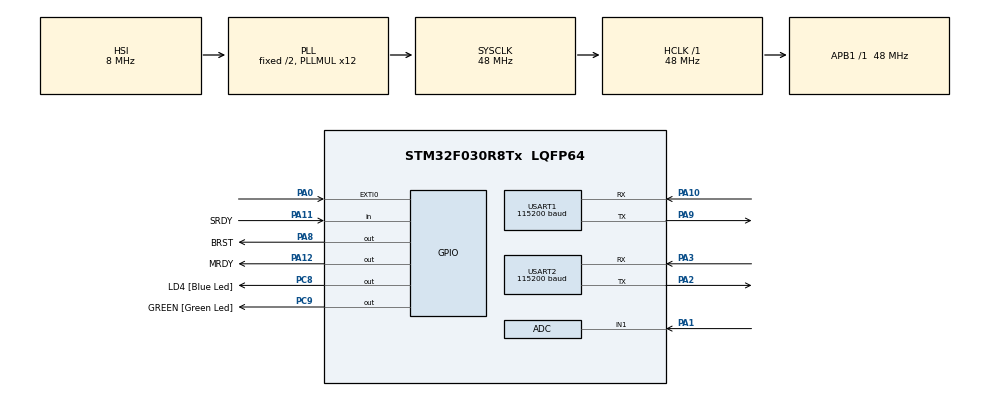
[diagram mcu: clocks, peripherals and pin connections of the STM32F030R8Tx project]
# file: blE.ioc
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ADC.ClockPrescaler=ADC_CLOCK_ASYNC_DIV1
ADC.ContinuousConvMode=DISABLE
ADC.DMAContinuousRequests=DISABLE
ADC.DataAlign=ADC_DATAALIGN_RIGHT
ADC.DiscontinuousConvMode=DISABLE
ADC.EOCSelection=ADC_EOC_SINGLE_CONV
ADC.EnableAnalogWatchDog=false
ADC.ExternalTrigConv=ADC_SOFTWARE_START
ADC.ExternalTrigConvEdge=ADC_EXTERNALTRIGCONVEDGE_NONE
ADC.LowPowerAutoPowerOff=DISABLE
ADC.LowPowerAutoWait=DISABLE
ADC.Overrun=ADC_OVR_DATA_PRESERVED
ADC.Resolution=ADC_RESOLUTION_12B
ADC.SamplingTime=ADC_SAMPLETIME_1CYCLE_5
ADC.ScanConvMode=ADC_SCAN_DIRECTION_FORWARD
Mcu.Family=STM32F0
Mcu.Name=STM32F030R8Tx
Mcu.Package=LQFP64
NVIC.USART1_IRQn=true\:0\:0\:false\:false\:true
PA0.Signal=GPXTI0
PA1.Mode=IN1
PA1.Signal=ADC_IN1
PA10.Mode=Asynchronous
PA10.Signal=USART1_RX
PA11.GPIO_Label=SRDY
PA11.GPIO_PuPd=GPIO_PULLUP
PA11.Signal=GPIO_Input
PA12.GPIO_Label=MRDY
PA12.GPIO_PuPd=GPIO_PULLUP
PA12.Signal=GPIO_Output
PA13.GPIO_Label=SWDIO
PA13.Signal=SYS_SWDIO
PA14.GPIO_Label=SWCLK
PA14.Signal=SYS_SWCLK
PA2.Mode=Asynchronous
PA2.Signal=USART2_TX
PA3.Mode=Asynchronous
PA3.Signal=USART2_RX
PA8.GPIO_Label=BRST
PA8.GPIO_PuPd=GPIO_PULLUP
PA8.Signal=GPIO_Output
PA9.Mode=Asynchronous
PA9.Signal=USART1_TX
PC8.GPIO_Label=LD4 [Blue Led]
PC8.Signal=GPIO_Output
PC9.GPIO_Label=GREEN [Green Led]
PC9.Signal=GPIO_Output
ProjectManager.HeapSize=0x200
ProjectManager.StackSize=0x400
ProjectManager.TargetToolchain=MDK-ARM V5
RCC.AHBFreq_Value=48000000
RCC.APB1Freq_Value=48000000
RCC.APB1TimFreq_Value=48000000
RCC.HCLKFreq_Value=48000000
RCC.PLLMUL=RCC_PLL_MUL12
RCC.SYSCLKFreq_VALUE=48000000
RCC.SYSCLKSource=RCC_SYSCLKSOURCE_PLLCLK
USART1.BaudRate=115200
USART1.VirtualMode-Asynchronous=VM_ASYNC
USART2.BaudRate=115200
USART2.VirtualMode-Asynchronous=VM_ASYNC
board=STM32F0308-DISCO

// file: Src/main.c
/**
  ******************************************************************************
  * File Name          : main.c
  * Description        : Main program body
  ******************************************************************************
  ** This notice applies to any and all portions of this file
  * that are not between comment pairs USER CODE BEGIN and
  * USER CODE END. Other portions of this file, whether
  * inserted by the user or by software development tools
  * are owned by their respective copyright owners.
  *
  * COPYRIGHT(c) 2018 STMicroelectronics
  *
  * Redistribution and use in source and binary forms, with or without modification,
  * are permitted provided that the following conditions are met:
  *   1. Redistributions of source code must retain the above copyright notice,
  *      this list of conditions and the following disclaimer.
  *   2. Redistributions in binary form must reproduce the above copyright notice,
  *      this list of conditions and the following disclaimer in the documentation
  *      and/or other materials provided with the distribution.
  *   3. Neither the name of STMicroelectronics nor the names of its contributors
  *      may be used to endorse or promote products derived from this software
  *      without specific prior written permission.
  *
  * THIS SOFTWARE IS PROVIDED BY THE COPYRIGHT HOLDERS AND CONTRIBUTORS "AS IS"
  * AND ANY EXPRESS OR IMPLIED WARRANTIES, INCLUDING, BUT NOT LIMITED TO, THE
  * IMPLIED WARRANTIES OF MERCHANTABILITY AND FITNESS FOR A PARTICULAR PURPOSE ARE
  * DISCLAIMED. IN NO EVENT SHALL THE COPYRIGHT HOLDER OR CONTRIBUTORS BE LIABLE
  * FOR ANY DIRECT, INDIRECT, INCIDENTAL, SPECIAL, EXEMPLARY, OR CONSEQUENTIAL
  * DAMAGES (INCLUDING, BUT NOT LIMITED TO, PROCUREMENT OF SUBSTITUTE GOODS OR
  * SERVICES; LOSS OF USE, DATA, OR PROFITS; OR BUSINESS INTERRUPTION) HOWEVER
  * CAUSED AND ON ANY THEORY OF LIABILITY, WHETHER IN CONTRACT, STRICT LIABILITY,
  * OR TORT (INCLUDING NEGLIGENCE OR OTHERWISE) ARISING IN ANY WAY OUT OF THE USE
  * OF THIS SOFTWARE, EVEN IF ADVISED OF THE POSSIBILITY OF SUCH DAMAGE.
  *
  ******************************************************************************
  */
#include "main.h"
#include "stm32f0xx_hal.h"
#include "adc.h"
#include "usart.h"
#include "gpio.h"

/* USER CODE BEGIN Includes */
#include "AP.h"
#define UART0_OutString(STRING) printf(STRING)
#define UART0_OutUHex(value) printf("%x", value);

/**
  * @brief  Retargets the C library printf function to the USART.
  * @param  None
  * @retval None
  */
//PUTCHAR_PROTOTYPE
int fputc(int ch, FILE *f)
{
    /* Place your implementation of fputc here */
    /* e.g. write a character to the USART */
    HAL_UART_Transmit(&huart2, (uint8_t *)&ch, 1, 100);

    return ch;
}
/* USER CODE END PFP */
/* USER CODE END Includes */

/* USER CODE BEGIN PV */
/* Private variables ---------------------------------------------------------*/

/* USER CODE END PV */

void SystemClock_Config(void);

/* USER CODE BEGIN PFP */
/* Private function prototypes -----------------------------------------------*/

/* USER CODE END PFP */

/* USER CODE BEGIN 0 */
//--------------------------------------------------
// 1. Initialize GATT (add services, characteristics, CCCDТs, etc.). See Section 9.5.
// 2. Initialize GAP (advertisement data, connection parameters, etc.). See Section 9.3.
// 3. Advertise and optionally wait for a connection. See Section 9.4.
// 4. Respond to GATT requests and send notifications / indications as desired. See Section 9.6

//----------------very simple application processor-----------
// first characteristic is called "Data" and is a read/write parameter exchanged with the phone
uint8_t Data;        // read/write parameter
//uint16_t Handle1;    // number associated with this characteristic
//// second characteristic is called "Switches" and is a read only parameter that returns switch value (0-3)
//uint16_t Handle2;    // number associated with this characteristic
// third characteristic is called "LEDs" and is a write-only parameter that sets the LED (0-7)
uint16_t Handle3;    // number associated with this characteristic
// fourth characteristic is called "Count" and is a local counter sent periodically to the phone
uint8_t light;
uint16_t Handle4;    // number associated with this characteristic
uint16_t CCCDhandle; // number associated with this CCCD, Client Characteristic Configuration Descriptor
uint16_t CCCDvalue;  // 0 means inactive, 1 means please notify

#define RECVSIZE 128
extern uint8_t RecvBuf[RECVSIZE];

const uint8_t NPI_GetStatusMsg[] =   {SOF,0x00,0x00,0x55,0x06,0x53};
const uint8_t NPI_GetVersionMsg[] =  {SOF,0x00,0x00,0x35,0x03,0x36};
const uint8_t NPI_AddServiceMsg[] = {
  SOF,3,0x00,     // length = 3
  0x35,0x81,      // SNP Add Service
  0x01,           // Primary Service
  0xF0,0xFF,      // UUID
  0xB9};          // FCS (calculated by AP_SendMessageResponse)

const uint8_t NPI_RegisterMsg[] = {
  SOF,0x00,0x00,  // length = 0
  0x35,0x84,      // SNP Register Service
  0x00};          // FCS (calculated by AP_SendMessageResponse)

// call Set Advertisement twice 0, 2
const uint8_t NPI_SetAdvertisementMsg[] = {
  SOF,11,0x00,    // length = 11
  0x55,0x43,      // SNP Set Advertisement Data
  0x01,           // Not connected Advertisement Data
  0x02,0x01,0x06, // GAP_ADTYPE_FLAGS,DISCOVERABLE | no BREDR
  0x06,0xFF,      // length, manufacturer specific
  0x0D ,0x00,     // Texas Instruments Company ID
  0x03,           // TI_ST_DEVICE_ID
  0x00,           // TI_ST_KEY_DATA_ID
  0x00,           // Key state
  0xEE};          // FCS (calculated by AP_SendMessageResponse)

const uint8_t NPI_SetAdvertisementDataMsg[] = {
  SOF,27,0x00,    // length = 27
  0x55,0x43,      // SNP Set Advertisement Data
  0x00,           // Scan Response Data
  16,0x09,        // length, type=LOCAL_NAME_COMPLETE
  'N','O','R','A','I','N',' ',' ',' ',' ',' ',' ',' ',' ',' ',
// connection interval range
  0x05,           // length of this data
  0x12,           // GAP_ADTYPE_SLAVE_CONN_INTERVAL_RANGE
  0x50,0x00,      // DEFAULT_DESIRED_MIN_CONN_INTERVAL
  0x20,0x03,      // DEFAULT_DESIRED_MAX_CONN_INTERVAL
// Tx power level
  0x02,           // length of this data
  0x0A,           // GAP_ADTYPE_POWER_LEVEL
  0x00,           // 0dBm
  0x77};          // FCS (calculated by AP_SendMessageResponse)

const uint8_t NPI_StartAdvertisementMsg[] = {
  SOF,14,0x00,    // length = 14
  0x55,0x42,      // SNP Start Advertisement
  0x00,           // Connectable Undirected Advertisements
  0x00,0x00,      // Advertise infinitely.
  0x64,0x00,      // Advertising Interval (100 * 0.625 ms=62.5ms)
  0x00,           // Filter Policy RFU
  0x00,           // Initiator Address Type RFU
  0x00,0x01,0x00,0x00,0x00,0xC5, // RFU
  0x02,           // Advertising will restart with connectable advertising when a connection is terminated
  0xBB};          // FCS (calculated by AP_SendMessageResponse)

uint8_t NPI_ReadConfirmationMsg[] = {
  SOF,0x08,0x00,  // length = 8 (7+data length, filled in dynamically)
  0x55,0x87,      // SNP Characteristic Read Confirmation (0x87)
  0x00,           // Success
  0x00,0x00,      // handle of connection always 0
  0x00,0x00,      // Handle of the characteristic value attribute being read (filled in dynamically
  0x00,0x00,      // offset, ignored, assumes small chucks of data
  0x00,0x00,0x00,0x00,0x00,0x00,0x00,0x00,  // actual data (filled in dynamically)
  0x00};          // FCS (calculated by AP_SendMessageResponse)

uint8_t NPI_WriteConfirmationMsg[] = {
  SOF,0x03,0x00,  // length = 3
  0x55,0x88,      // SNP Characteristic Write Confirmation
  0x00,           // Success
  0x00,0x00,      // handle of connection always 0
  0xDE};          // FCS (calculated by AP_SendMessageResponse)

uint8_t NPI_CCCDUpdatedConfirmationMsg[] = {
  SOF,0x03,0x00,  // length = 3
  0x55,0x8B,      // SNP CCCD Updated Confirmation (0x8B)
  0x00,           // Success
  0x00,0x00,      // handle of connection always 0
  0xDD};          // FCS (calculated by AP_SendMessageResponse)

uint8_t NPI_SendNotificationIndicationMsg[] = {
  SOF,0x07,0x00,  // length = 7 to 14 depending on data size
  0x55,0x89,      // SNP Send Notification Indication (0x89))
  0x00,0x00,      // handle of connection always 0
  0x00,0x00,      // Handle of the characteristic value attribute to notify / indicate (filled in dynamically
  0x00,           // RFU
  0x01,           // Indication Request type
  0x00,0,0,0,0,0,0,0, // 1 to 8 bytes of data filled in dynamically
  0xDD};      // FCS (calculated by AP_SendMessageResponse)

void OutValue(char *label,uint32_t value){
  UART0_OutString(label);
  UART0_OutUHex(value);
}

const uint8_t NPI_AddCharValue3[] = {
  SOF,0x08,0x00,  // length = 8
  0x35,0x82,      // SNP Add Characteristic Value Declaration
  0x02,           // GATT Write Permission
  0x08,0x00,      // GATT Write Properties
  0x00,           // RFU
  0x00,0x02,      // Maximum length of the attribute value=512
  0xF3,0xFF,      // UUID
  0xBB};          // FCS (calculated by AP_SendMessageResponse)
const uint8_t NPI_AddCharDescriptor3[] = {
  SOF,11,0x00,    // length = 11
  0x35,0x83,      // SNP SNP Add Characteristic Descriptor Declaration
  0x80,           // User Description String
  0x01,           // GATT Read Permissions
  0x05,0x00,      // Maximum Possible length of the user description string
  0x05,0x00,      // Initial length of the user description string
  'L','E','D','s',0, // Initial user description string
  0x0E};          // FCS (calculated by AP_SendMessageResponse)

const uint8_t NPI_AddCharValue4[] = {
  SOF,0x08,0x00,  // length = 8
  0x35,0x82,      // SNP Add Characteristic Value Declaration
  0x00,           // GATT no read, no Write Permission
  0x10,0x00,      // GATT notification Properties
  0x00,           // RFU
  0x00,0x02,      // Maximum length of the attribute value=512
  0xF4,0xFF,      // UUID
  0xA6};          // FCS (calculated by AP_SendMessageResponse)
const uint8_t NPI_AddCharDescriptor4[] = {
  SOF,12,0x00,    // length = 12
  0x35,0x83,      // SNP Add Characteristic Descriptor Declaration
  0x84,           // User Description String+CCCD
  0x03,           // CCCD parameters read+write
  0x01,           // GATT Read Permissions
  0x06,0x00,      // Maximum Possible length of the user description string
  0x06,0x00,      // Initial length of the user description string
  'C','o','u','n','t',0, // Initial user description string
  0x0E};          // FCS (calculated by AP_SendMessageResponse)

/* USER CODE END 0 */

int main(void)
{

  /* MCU Configuration----------------------------------------------------------*/

  /* Reset of all peripherals, Initializes the Flash interface and the Systick. */
  HAL_Init();

  /* Configure the system clock */
  SystemClock_Config();

  /* Initialize all configured peripherals */
  MX_GPIO_Init();
  MX_USART1_UART_Init();
  MX_USART2_UART_Init();
  MX_ADC_Init();

  /* USER CODE BEGIN 2 */
	uart_init_RXinterrupt();
	 volatile int r1; uint16_t h; uint32_t time=0;
  uint8_t responseNeeded;

  UART0_OutString("\n\rVery Simple Application Processor\n\r");
  UART0_OutString("\n\rReset CC2650");
  r1 = AP_Init();

  UART0_OutString("\n\rNPI_GetStatus");
  r1=AP_SendMessageResponse((uint8_t*)NPI_GetStatusMsg,RecvBuf,RECVSIZE);
  UART0_OutString("\n\rNPI_GetVersion");
  r1=AP_SendMessageResponse((uint8_t*)NPI_GetVersionMsg,RecvBuf,RECVSIZE);

  UART0_OutString("\n\rAdd service");
  r1=AP_SendMessageResponse((uint8_t*)NPI_AddServiceMsg,RecvBuf,RECVSIZE);
  //---------------Characteristic1 is read/write 8 bits---------
  Data = 1;

//  //-----------Characteristic3 is write only 8 bits----------
  UART0_OutString("\n\rAdd CharValue3");
  r1=AP_SendMessageResponse((uint8_t*)NPI_AddCharValue3,RecvBuf,RECVSIZE);
  Handle3 = (RecvBuf[7]<<8)+RecvBuf[6]; // handle for this characteristic
  UART0_OutString("\n\rAdd CharDescriptor3");
  r1=AP_SendMessageResponse((uint8_t*)NPI_AddCharDescriptor3,RecvBuf,RECVSIZE);
  //-----------Characteristic4 is notify 8 bits-------------
  light = 0;
  UART0_OutString("\n\rAdd CharValue4");
  r1=AP_SendMessageResponse((uint8_t*)NPI_AddCharValue4,RecvBuf,RECVSIZE);
  Handle4 = (RecvBuf[7]<<8)+RecvBuf[6]; // handle for this characteristic
  UART0_OutString("\n\rAdd CharDescriptor4");
  r1=AP_SendMessageResponse((uint8_t*)NPI_AddCharDescriptor4,RecvBuf,RECVSIZE);
  CCCDhandle = (RecvBuf[8]<<8)+RecvBuf[7]; // handle for this CCCD
  CCCDvalue = 0;
  //------------Register Service------------
  UART0_OutString("\n\rRegister service");
  r1=AP_SendMessageResponse((uint8_t*)NPI_RegisterMsg,RecvBuf,RECVSIZE);
  //--------------Advertise----------
  UART0_OutString("\n\rSetAdvertisement1");
  r1=AP_SendMessageResponse((uint8_t*)NPI_SetAdvertisementMsg,RecvBuf,RECVSIZE);
  UART0_OutString("\n\rSetAdvertisement2");
  r1=AP_SendMessageResponse((uint8_t*)NPI_SetAdvertisementDataMsg,RecvBuf,RECVSIZE);
  UART0_OutString("\n\rStartAdvertisement");
  r1=AP_SendMessageResponse((uint8_t*)NPI_StartAdvertisementMsg,RecvBuf,RECVSIZE);
  UART0_OutString("\n\rGetStatus");
  r1=AP_SendMessageResponse((uint8_t*)NPI_GetStatusMsg,RecvBuf,RECVSIZE);

  /* USER CODE END 2 */

  /* Infinite loop */
  /* USER CODE BEGIN WHILE */

  while (1)
  {
		time++;
    if(AP_RecvStatus()){
      if(AP_RecvMessage(RecvBuf,RECVSIZE)==APOK){
        AP_EchoReceived(APOK);
        if((RecvBuf[3]==0x55)&&(RecvBuf[4]==0x88)){// SNP Characteristic Write Indication (0x88)
          h = (RecvBuf[8]<<8)+RecvBuf[7]; // handle for this characteristic
          responseNeeded = RecvBuf[9];
          // process possible write indications

					if(h == Handle3){// Handle3 could be write
            OutValue("\n\rWrite LED=",RecvBuf[12]);
            //LaunchPad_Output(RecvBuf[12]&0x07);
						if(RecvBuf[12]=='0'){
							HAL_GPIO_WritePin(LD4_GPIO_Port,LD4_Pin,GPIO_PIN_RESET);
						}else{
							HAL_GPIO_WritePin(LD4_GPIO_Port, LD4_Pin,GPIO_PIN_SET);
						}
          }
          if(responseNeeded){
            AP_SendMessage(NPI_WriteConfirmationMsg);
            AP_EchoSendMessage(NPI_WriteConfirmationMsg);
          }
        }

        if((RecvBuf[3]==0x55)&&(RecvBuf[4]==0x8B)){// SNP CCCD Updated Indication (0x8B)
          h = (RecvBuf[8]<<8)+RecvBuf[7]; // handle for this characteristic
          responseNeeded = RecvBuf[9];
          if(CCCDhandle == h){
            CCCDvalue = (RecvBuf[11]<<8)+RecvBuf[10];
          }
          if(responseNeeded){
            AP_SendMessage(NPI_CCCDUpdatedConfirmationMsg);
            AP_EchoSendMessage(NPI_CCCDUpdatedConfirmationMsg);
          }
        }
      }
    }
    if(time>4000000){
      time = 0;
      //Count++;
      if(CCCDvalue){
				light=readLight();
        NPI_SendNotificationIndicationMsg[7] = Handle4&0x0FF; // handle
        NPI_SendNotificationIndicationMsg[8] = Handle4>>8;
        NPI_SendNotificationIndicationMsg[11] = light;
        OutValue("\n\rSend Count=",light);
        r1=AP_SendMessageResponse(NPI_SendNotificationIndicationMsg,RecvBuf,RECVSIZE);
      }
    }

  /* USER CODE END WHILE */

  }

}

/** System Clock Configuration
*/
void SystemClock_Config(void)
{

  RCC_OscInitTypeDef RCC_OscInitStruct;
  RCC_ClkInitTypeDef RCC_ClkInitStruct;
  RCC_PeriphCLKInitTypeDef PeriphClkInit;

    /**Initializes the CPU, AHB and APB busses clocks
    */
  RCC_OscInitStruct.OscillatorType = RCC_OSCILLATORTYPE_HSI|RCC_OSCILLATORTYPE_HSI14;
  RCC_OscInitStruct.HSIState = RCC_HSI_ON;
  RCC_OscInitStruct.HSI14State = RCC_HSI14_ON;
  RCC_OscInitStruct.HSICalibrationValue = 16;
  RCC_OscInitStruct.HSI14CalibrationValue = 16;
  RCC_OscInitStruct.PLL.PLLState = RCC_PLL_ON;
  RCC_OscInitStruct.PLL.PLLSource = RCC_PLLSOURCE_HSI;
  RCC_OscInitStruct.PLL.PLLMUL = RCC_PLL_MUL12;
  RCC_OscInitStruct.PLL.PREDIV = RCC_PREDIV_DIV1;
  if (HAL_RCC_OscConfig(&RCC_OscInitStruct) != HAL_OK)
  {
    _Error_Handler(__FILE__, __LINE__);
  }

    /**Initializes the CPU, AHB and APB busses clocks
    */
  RCC_ClkInitStruct.ClockType = RCC_CLOCKTYPE_HCLK|RCC_CLOCKTYPE_SYSCLK
                              |RCC_CLOCKTYPE_PCLK1;
  RCC_ClkInitStruct.SYSCLKSource = RCC_SYSCLKSOURCE_PLLCLK;
  RCC_ClkInitStruct.AHBCLKDivider = RCC_SYSCLK_DIV1;
  RCC_ClkInitStruct.APB1CLKDivider = RCC_HCLK_DIV1;

  if (HAL_RCC_ClockConfig(&RCC_ClkInitStruct, FLASH_LATENCY_1) != HAL_OK)
  {
    _Error_Handler(__FILE__, __LINE__);
  }

  PeriphClkInit.PeriphClockSelection = RCC_PERIPHCLK_USART1;
  PeriphClkInit.Usart1ClockSelection = RCC_USART1CLKSOURCE_PCLK1;
  if (HAL_RCCEx_PeriphCLKConfig(&PeriphClkInit) != HAL_OK)
  {
    _Error_Handler(__FILE__, __LINE__);
  }

    /**Configure the Systick interrupt time
    */
  HAL_SYSTICK_Config(HAL_RCC_GetHCLKFreq()/1000);

    /**Configure the Systick
    */
  HAL_SYSTICK_CLKSourceConfig(SYSTICK_CLKSOURCE_HCLK);

  /* SysTick_IRQn interrupt configuration */
  HAL_NVIC_SetPriority(SysTick_IRQn, 0, 0);
}

void _Error_Handler(char * file, int line)
{
  while(1)
  {
  }
}

/************************ (C) COPYRIGHT STMicroelectronics *****END OF FILE****/
